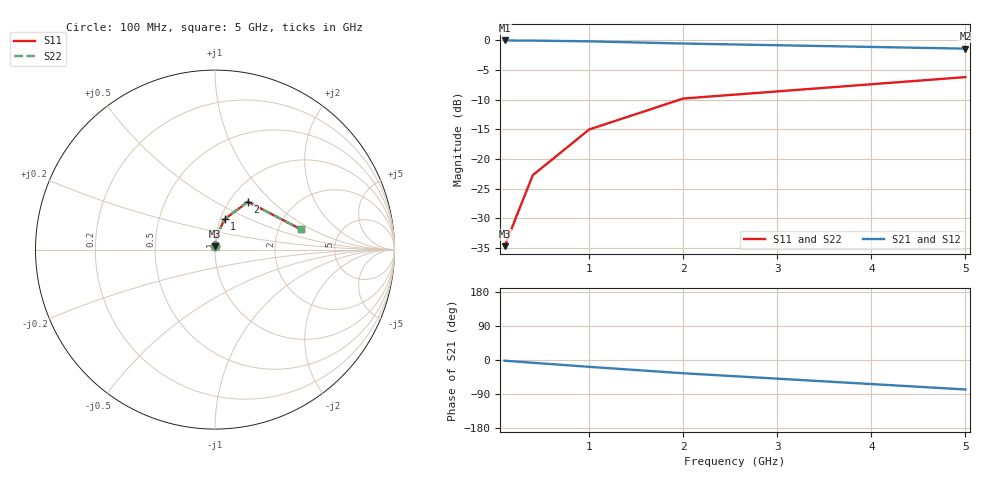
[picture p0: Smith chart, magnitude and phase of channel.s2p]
! Raw Palace field extraction; port order: U1.OUT, U2.IN
# Hz S RI R 50
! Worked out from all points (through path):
!   5 points, 100 MHz to 5 GHz, reference 50 ohm
!   highest |S21| = -0.01 dB at 100 MHz (marker M1); lowest = -1.4 dB at 5 GHz (marker M2)
!   lowest |S11| = -34.7 dB at 100 MHz (marker M3), VSWR 1.04, Z = 49.9 + j1.83 ohm
!   |S11| at or under -10 dB: start of sweep to 1.964 GHz
!   |S22| runs from -34.7 to -6.2 dB; largest |S21 - S12| = 9.3e-08
!   S11 on the Smith chart (normalised r, x): 100 MHz: 1.00, +0.04; 1 GHz: 1.05, +0.37; 2 GHz: 1.21, +0.72; 5 GHz: 2.65, +0.79
1e8  -0.000342 0.0183  0.9984 -0.0318  0.9984 -0.0318  -0.000342 0.0183
4e8  0.00802 0.0725  0.9879 -0.1265  0.9879 -0.1265  0.00802 0.0725
1e9  0.0532 0.169  0.9333 -0.3044  0.9333 -0.3044  0.0532 0.169
2e9  0.183 0.2663  0.7711 -0.5397  0.7711 -0.5397  0.183 0.2663
5e9  0.4766 0.1138  0.1807 -0.8326  0.1807 -0.8326  0.4766 0.1137
